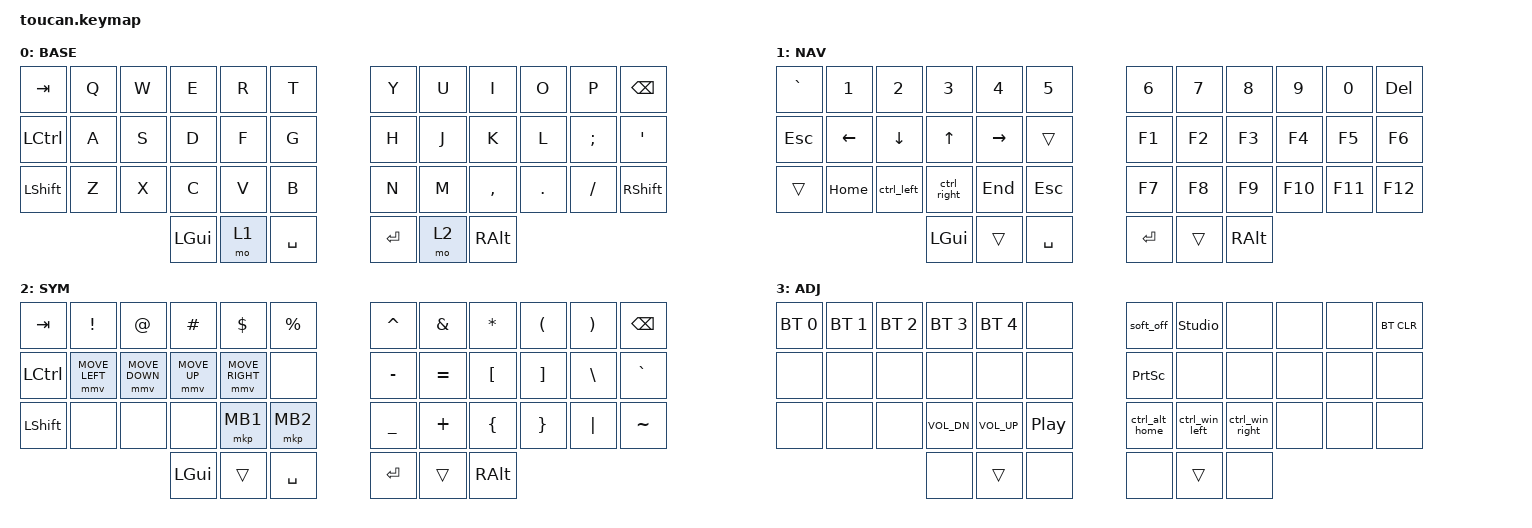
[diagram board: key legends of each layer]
#define ZMK_POINTING_DEFAULT_MOVE_VAL 1200  // default: 600
#define ZMK_POINTING_DEFAULT_SCRL_VAL 20

#include <behaviors.dtsi>
#include <dt-bindings/zmk/keys.h>
#include <dt-bindings/zmk/keys.h>
#include <dt-bindings/zmk/bt.h>
#include <dt-bindings/zmk/outputs.h>
#include <dt-bindings/zmk/pointing.h>

#define BASE 0
#define NAV  1
#define SYM  2
#define ADJ  3

/ {
    macros {
      ctrl_alt_home: ctrl_alt_home {
        compatible = "zmk,behavior-macro";
        #binding-cells = <0>;
        bindings = <&macro_press &kp LCTRL &kp LALT>,
                   <&macro_tap &kp HOME>,
                   <&macro_release &kp LCTRL &kp LALT>;
      };
      ctrl_win_left: ctrl_win_left {
        compatible = "zmk,behavior-macro";
        #binding-cells = <0>;
        bindings = <&macro_press &kp LCTRL &kp LGUI>,
                   <&macro_tap &kp LEFT>,
                   <&macro_release &kp LCTRL &kp LGUI>;
      };
      ctrl_win_right: ctrl_win_right {
        compatible = "zmk,behavior-macro";
        #binding-cells = <0>;
        bindings = <&macro_press &kp LCTRL &kp LGUI>,
                   <&macro_tap &kp RIGHT>,
                   <&macro_release &kp LCTRL &kp LGUI>;
      };
      ctrl_shift_esc: ctrl_shift_esc {
        compatible = "zmk,behavior-macro";
        #binding-cells = <0>;
        bindings = <&macro_press &kp LCTRL &kp LSHIFT>,
                   <&macro_tap &kp ESC>,
                   <&macro_release &kp LCTRL &kp LSHIFT>;
      };
      alt_f4: alt_f4 {
        compatible = "zmk,behavior-macro";
        #binding-cells = <0>;
        bindings = <&macro_press &kp LALT>,
                   <&macro_tap &kp F4>,
                   <&macro_release &kp LALT>;
      };
      ctrl_shift_r: ctrl_shift_r {
        compatible = "zmk,behavior-macro";
        #binding-cells = <0>;
        bindings = <&macro_press &kp LCTRL &kp LSHIFT>,
                   <&macro_tap &kp R>,
                   <&macro_release &kp LCTRL &kp LSHIFT>;
      };
      win_l: win_l {
        compatible = "zmk,behavior-macro";
        #binding-cells = <0>;
        bindings = <&macro_press &kp LGUI>,
                   <&macro_tap &kp L>,
                   <&macro_release &kp LGUI>;
      };
      ctrl_left: ctrl_left {
        compatible = "zmk,behavior-macro";
        #binding-cells = <0>;
        bindings = <&macro_press &kp LCTRL>,
                   <&macro_tap &kp LEFT>,
                   <&macro_release &kp LCTRL>;
      };
      ctrl_right: ctrl_right {
        compatible = "zmk,behavior-macro";
        #binding-cells = <0>;
        bindings = <&macro_press &kp LCTRL>,
                   <&macro_tap &kp RIGHT>,
                   <&macro_release &kp LCTRL>;
      };
  };
};

/ {
    conditional_layers {
        compatible = "zmk,conditional-layers";
        tri_layer {
            if-layers = <1 2>;
            then-layer = <3>;
        };
    };

    keymap {
        compatible = "zmk,keymap";

        base {
            display-name = "BASE";
            bindings = <
&kp TAB         &kp Q           &kp W           &kp E           &kp R           &kp T           &kp Y           &kp U           &kp I           &kp O           &kp P           &kp BSPC
&kp LCTRL       &kp A           &kp S           &kp D           &kp F           &kp G           &kp H           &kp J           &kp K           &kp L           &kp SEMI        &kp SQT
&kp LSHFT       &kp Z           &kp X           &kp C           &kp V           &kp B           &kp N           &kp M           &kp COMMA       &kp DOT         &kp FSLH        &kp RSHFT
                                                &kp LGUI        &mo 1           &kp SPACE       &kp RET         &mo 2           &kp RALT
            >;
        };

        nav {
            display-name = "NAV";
            bindings = <
&kp GRAVE       &kp N1          &kp N2          &kp N3          &kp N4          &kp N5          &kp N6          &kp N7          &kp N8          &kp N9          &kp N0          &kp DEL
&kp ESC         &kp LEFT        &kp DOWN        &kp UP          &kp RIGHT       &trans          &kp F1          &kp F2          &kp F3          &kp F4          &kp F5          &kp F6
&trans          &kp HOME        &ctrl_left      &ctrl_right     &kp END         &kp ESC         &kp F7          &kp F8          &kp F9          &kp F10         &kp F11         &kp F12
                                                &kp LGUI        &trans          &kp SPACE       &kp RET         &trans          &kp RALT
            >;
        };

        sym {
            display-name = "SYM";
            bindings = <
&kp TAB         &kp EXCL        &kp AT          &kp HASH        &kp DLLR        &kp PRCNT       &kp CARET       &kp AMPS        &kp ASTRK       &kp LPAR        &kp RPAR       &kp BSPC
&kp LCTRL       &mmv MOVE_LEFT  &mmv MOVE_DOWN  &mmv MOVE_UP    &mmv MOVE_RIGHT &none           &kp MINUS       &kp EQUAL       &kp LBKT        &kp RBKT        &kp BSLH       &kp GRAVE
&kp LSHFT       &none           &none           &none           &mkp MB1        &mkp MB2        &kp UNDER       &kp PLUS        &kp LBRC        &kp RBRC        &kp PIPE       &kp TILDE
                                                &kp LGUI        &trans          &kp SPACE       &kp RET         &trans          &kp RALT
            >;
        };

        adj {
            display-name = "ADJ";
            bindings = <
&bt BT_SEL 0    &bt BT_SEL 1    &bt BT_SEL 2    &bt BT_SEL 3    &bt BT_SEL 4    &none           &soft_off       &studio_unlock  &none           &none           &none           &bt BT_CLR
&none           &none           &none           &none           &none           &none           &kp PSCRN       &none           &none           &none           &none           &none
&none           &none           &none           &kp C_VOL_DN    &kp C_VOL_UP    &kp C_PP        &ctrl_alt_home  &ctrl_win_left  &ctrl_win_right &none           &none           &none
                                                &none           &trans          &none           &none           &trans          &none
            >;
        };
        extra_1 {
                status = "reserved";
        };

        extra_2 {
                status = "reserved";
        };

        extra_3 {
                status = "reserved";
        };
    };
};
